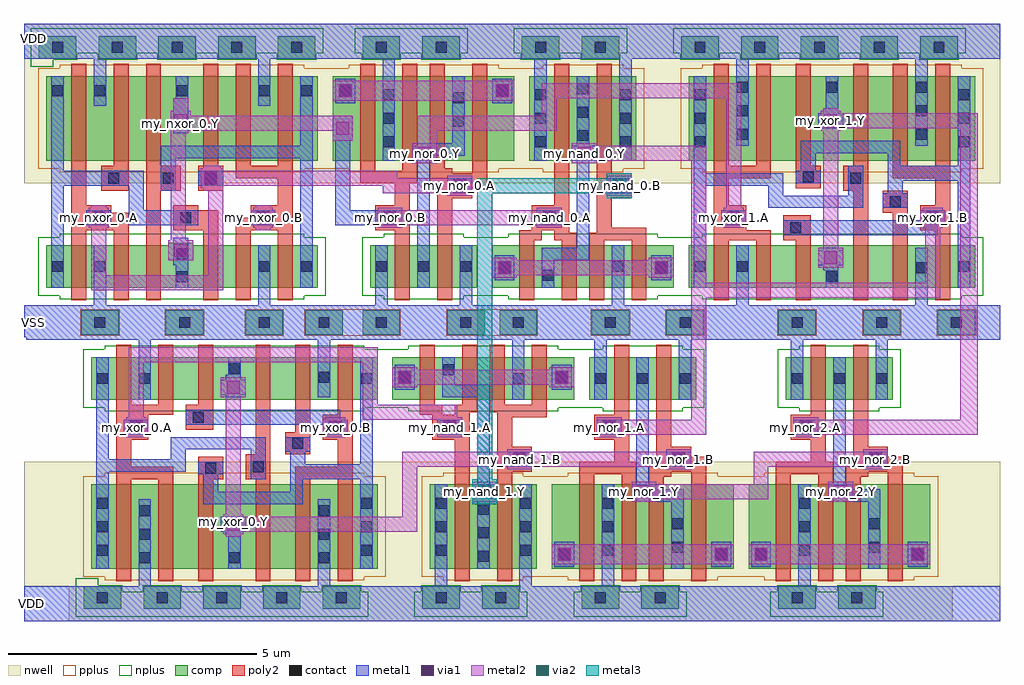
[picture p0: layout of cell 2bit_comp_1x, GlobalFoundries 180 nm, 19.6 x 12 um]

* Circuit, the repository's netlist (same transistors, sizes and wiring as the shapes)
* NGSPICE file created from 2bit_comp_1x.ext - technology: gf180mcuD

.subckt x2bit_comp_1x VDD VSS B0 A0 B1 A1 L G E
X0 my_xor_0.Y a_700_n970# a_600_n920# VDD pfet_03v3 ad=0.7225p pd=2.55u as=0.425p ps=2.2u w=1.7u l=0.3u
X1 a_2910_n920# E G VDD pfet_03v3 ad=0.935p pd=4.5u as=0.4675p ps=2.25u w=1.7u l=0.3u
X2 VDD my_nxor_0.Y a_1240_720# VDD pfet_03v3 ad=0.4675p pd=2.25u as=0.935p ps=4.5u w=1.7u l=0.3u
X3 my_nand_0.Y my_nxor_0.Y a_1880_210# VSS nfet_03v3 ad=0.23375p pd=1.4u as=0.4675p ps=2.8u w=0.85u l=0.3u
X4 VSS a_3100_610# a_3390_210# VSS nfet_03v3 ad=0.23375p pd=1.4u as=0.2125p ps=1.35u w=0.85u l=0.3u
X5 VDD my_nand_0.B my_nand_0.Y VDD pfet_03v3 ad=0.85p pd=4.4u as=0.4675p ps=2.25u w=1.7u l=0.3u
X6 a_3390_720# a_2670_210# L VDD pfet_03v3 ad=0.425p pd=2.2u as=0.7225p ps=2.55u w=1.7u l=0.3u
X7 a_3000_210# my_nor_0.Y VSS VSS nfet_03v3 ad=0.2125p pd=1.35u as=0.23375p ps=1.4u w=0.85u l=0.3u
X8 VDD my_xor_0.Y my_nand_0.B VDD pfet_03v3 ad=0.85p pd=4.4u as=0.4675p ps=2.25u w=1.7u l=0.3u
X9 VDD my_nor_0.Y a_2670_210# VDD pfet_03v3 ad=0.4675p pd=2.25u as=0.85p ps=4.4u w=1.7u l=0.3u
X10 VSS a_700_n970# a_990_n240# VSS nfet_03v3 ad=0.23375p pd=1.4u as=0.2125p ps=1.35u w=0.85u l=0.3u
X11 a_3250_n920# L VDD VDD pfet_03v3 ad=0.2125p pd=1.95u as=0.4675p ps=2.25u w=1.7u l=0.3u
X12 a_990_n240# a_270_n920# my_xor_0.Y VSS nfet_03v3 ad=0.2125p pd=1.35u as=0.36125p ps=1.7u w=0.85u l=0.3u
X13 a_1580_720# my_nxor_0.Y VDD VDD pfet_03v3 ad=0.2125p pd=1.95u as=0.4675p ps=2.25u w=1.7u l=0.3u
X14 a_2460_n920# my_nand_0.Y VDD VDD pfet_03v3 ad=0.2125p pd=1.95u as=0.4675p ps=2.25u w=1.7u l=0.3u
X15 VDD my_nand_0.Y a_3390_720# VDD pfet_03v3 ad=0.4675p pd=2.25u as=0.425p ps=2.2u w=1.7u l=0.3u
X16 a_3100_610# my_nand_0.Y VSS VSS nfet_03v3 ad=0.425p pd=2.7u as=0.23375p ps=1.4u w=0.85u l=0.3u
X17 a_3000_720# my_nor_0.Y VDD VDD pfet_03v3 ad=0.425p pd=2.2u as=0.4675p ps=2.25u w=1.7u l=0.3u
X18 L my_nand_0.Y a_3000_210# VSS nfet_03v3 ad=0.36125p pd=1.7u as=0.2125p ps=1.35u w=0.85u l=0.3u
X19 VSS A1 a_780_210# VSS nfet_03v3 ad=0.23375p pd=1.4u as=0.14875p ps=1.2u w=0.85u l=0.3u
X20 a_1820_n240# B0 my_nand_0.B VSS nfet_03v3 ad=0.10625p pd=1.1u as=0.23375p ps=1.4u w=0.85u l=0.3u
X21 VSS my_xor_0.Y E VSS nfet_03v3 ad=0.425p pd=2.7u as=0.23375p ps=1.4u w=0.85u l=0.3u
X22 a_600_n920# B0 VDD VDD pfet_03v3 ad=0.425p pd=2.2u as=0.4675p ps=2.25u w=1.7u l=0.3u
X23 a_2120_n920# my_xor_0.Y E VDD pfet_03v3 ad=0.935p pd=4.5u as=0.4675p ps=2.25u w=1.7u l=0.3u
X24 VSS B1 a_90_210# VSS nfet_03v3 ad=0.23375p pd=1.4u as=0.425p ps=2.7u w=0.85u l=0.3u
X25 a_780_210# a_90_210# my_nxor_0.Y VSS nfet_03v3 ad=0.14875p pd=1.2u as=0.37375p ps=1.75u w=0.85u l=0.3u
X26 G E a_3250_n920# VDD pfet_03v3 ad=0.4675p pd=2.25u as=0.2125p ps=1.95u w=1.7u l=0.3u
X27 a_3100_610# my_nand_0.Y VDD VDD pfet_03v3 ad=0.85p pd=4.4u as=0.4675p ps=2.25u w=1.7u l=0.3u
X28 VSS my_nand_0.B a_2220_210# VSS nfet_03v3 ad=0.23375p pd=1.4u as=0.10625p ps=1.1u w=0.85u l=0.3u
X29 VSS B0 a_270_n920# VSS nfet_03v3 ad=0.23375p pd=1.4u as=0.425p ps=2.7u w=0.85u l=0.3u
X30 VDD A1 a_780_720# VDD pfet_03v3 ad=0.4675p pd=2.25u as=0.2975p ps=2.05u w=1.7u l=0.3u
X31 L a_3100_610# a_3000_720# VDD pfet_03v3 ad=0.7225p pd=2.55u as=0.425p ps=2.2u w=1.7u l=0.3u
X32 my_nxor_0.Y a_490_160# a_420_210# VSS nfet_03v3 ad=0.37375p pd=1.75u as=0.14875p ps=1.2u w=0.85u l=0.3u
X33 VDD L a_2910_n920# VDD pfet_03v3 ad=0.4675p pd=2.25u as=0.935p ps=4.5u w=1.7u l=0.3u
X34 VDD B1 a_90_210# VDD pfet_03v3 ad=0.4675p pd=2.25u as=0.85p ps=4.4u w=1.7u l=0.3u
X35 a_780_720# B1 my_nxor_0.Y VDD pfet_03v3 ad=0.2975p pd=2.05u as=0.7225p ps=2.55u w=1.7u l=0.3u
X36 a_420_210# B1 VSS VSS nfet_03v3 ad=0.14875p pd=1.2u as=0.23375p ps=1.4u w=0.85u l=0.3u
X37 a_700_n970# A0 VSS VSS nfet_03v3 ad=0.425p pd=2.7u as=0.23375p ps=1.4u w=0.85u l=0.3u
X38 a_1480_n240# my_xor_0.Y VSS VSS nfet_03v3 ad=0.4675p pd=2.8u as=0.23375p ps=1.4u w=0.85u l=0.3u
X39 a_490_160# A1 VSS VSS nfet_03v3 ad=0.425p pd=2.7u as=0.23375p ps=1.4u w=0.85u l=0.3u
X40 my_nor_0.Y my_nxor_0.Y VSS VSS nfet_03v3 ad=0.23375p pd=1.4u as=0.425p ps=2.7u w=0.85u l=0.3u
X41 my_xor_0.Y A0 a_600_n240# VSS nfet_03v3 ad=0.36125p pd=1.7u as=0.2125p ps=1.35u w=0.85u l=0.3u
X42 a_1880_210# my_nand_0.B VSS VSS nfet_03v3 ad=0.4675p pd=2.8u as=0.23375p ps=1.4u w=0.85u l=0.3u
X43 G L VSS VSS nfet_03v3 ad=0.23375p pd=1.4u as=0.425p ps=2.7u w=0.85u l=0.3u
X44 VDD A0 a_990_n920# VDD pfet_03v3 ad=0.4675p pd=2.25u as=0.425p ps=2.2u w=1.7u l=0.3u
X45 my_nxor_0.Y a_490_160# a_420_720# VDD pfet_03v3 ad=0.7225p pd=2.55u as=0.2975p ps=2.05u w=1.7u l=0.3u
X46 a_990_n920# a_270_n920# my_xor_0.Y VDD pfet_03v3 ad=0.425p pd=2.2u as=0.7225p ps=2.55u w=1.7u l=0.3u
X47 my_nor_0.Y B1 a_1580_720# VDD pfet_03v3 ad=0.4675p pd=2.25u as=0.2125p ps=1.95u w=1.7u l=0.3u
X48 my_nand_0.B B0 VDD VDD pfet_03v3 ad=0.4675p pd=2.25u as=0.85p ps=4.4u w=1.7u l=0.3u
X49 E my_xor_0.Y a_2460_n920# VDD pfet_03v3 ad=0.4675p pd=2.25u as=0.2125p ps=1.95u w=1.7u l=0.3u
X50 a_420_720# a_90_210# VDD VDD pfet_03v3 ad=0.2975p pd=2.05u as=0.4675p ps=2.25u w=1.7u l=0.3u
X51 a_490_160# A1 VDD VDD pfet_03v3 ad=0.85p pd=4.4u as=0.4675p ps=2.25u w=1.7u l=0.3u
X52 VSS B1 my_nor_0.Y VSS nfet_03v3 ad=0.425p pd=2.7u as=0.23375p ps=1.4u w=0.85u l=0.3u
X53 VSS my_xor_0.Y a_1820_n240# VSS nfet_03v3 ad=0.23375p pd=1.4u as=0.10625p ps=1.1u w=0.85u l=0.3u
X54 VDD my_nand_0.Y a_2120_n920# VDD pfet_03v3 ad=0.4675p pd=2.25u as=0.935p ps=4.5u w=1.7u l=0.3u
X55 a_1240_720# B1 my_nor_0.Y VDD pfet_03v3 ad=0.935p pd=4.5u as=0.4675p ps=2.25u w=1.7u l=0.3u
X56 a_600_n240# B0 VSS VSS nfet_03v3 ad=0.2125p pd=1.35u as=0.23375p ps=1.4u w=0.85u l=0.3u
X57 a_3390_210# a_2670_210# L VSS nfet_03v3 ad=0.2125p pd=1.35u as=0.36125p ps=1.7u w=0.85u l=0.3u
X58 my_nand_0.B B0 a_1480_n240# VSS nfet_03v3 ad=0.23375p pd=1.4u as=0.4675p ps=2.8u w=0.85u l=0.3u
X59 E my_nand_0.Y VSS VSS nfet_03v3 ad=0.23375p pd=1.4u as=0.425p ps=2.7u w=0.85u l=0.3u
X60 VDD B0 a_270_n920# VDD pfet_03v3 ad=0.4675p pd=2.25u as=0.85p ps=4.4u w=1.7u l=0.3u
X61 my_nand_0.Y my_nxor_0.Y VDD VDD pfet_03v3 ad=0.4675p pd=2.25u as=0.85p ps=4.4u w=1.7u l=0.3u
X62 VSS my_nor_0.Y a_2670_210# VSS nfet_03v3 ad=0.23375p pd=1.4u as=0.425p ps=2.7u w=0.85u l=0.3u
X63 a_2220_210# my_nxor_0.Y my_nand_0.Y VSS nfet_03v3 ad=0.10625p pd=1.1u as=0.23375p ps=1.4u w=0.85u l=0.3u
X64 VSS E G VSS nfet_03v3 ad=0.425p pd=2.7u as=0.23375p ps=1.4u w=0.85u l=0.3u
X65 a_700_n970# A0 VDD VDD pfet_03v3 ad=0.85p pd=4.4u as=0.4675p ps=2.25u w=1.7u l=0.3u
.ends

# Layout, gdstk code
import gdstk
lib = gdstk.Library(unit=1e-6, precision=1e-09)
def R(c, l, rs):  # rectangles x0, y0, x1, y1
    for r in rs: c.add(gdstk.rectangle(r[:2], r[2:], *l))
def A(c, l, x, y, w, h, nx, ny, dx, dy):  # array of equal rectangles
    R(c, l, [(x+i*dx, y+j*dy, x+i*dx+w, y+j*dy+h) for i in range(nx) for j in range(ny)])
nwell = (21, 0)
comp = (22, 0)
poly2 = (30, 0)
pplus = (31, 0)
nplus = (32, 0)
contact = (33, 0)
metal1 = (34, 0)
via1 = (35, 0)
metal2 = (36, 0)
via2 = (38, 0)
metal3 = (42, 0)

c_2bit_comp_1x = lib.new_cell('2bit_comp_1x')
R(c_2bit_comp_1x, nwell, [(0.9,-5.65,18.65,-4.95), (0,-4.95,19.6,-2.45), (0,3.15,19.6,6.35)])
A(c_2bit_comp_1x, comp, 1.2, -5.4, 0.75, 0.45, 5, 1, 1.2, 0)
A(c_2bit_comp_1x, comp, 0.3, 5.65, 0.75, 0.45, 5, 1, 1.2, 0)
A(c_2bit_comp_1x, comp, 13.2, 5.65, 0.75, 0.45, 5, 1, 1.2, 0)
R(c_2bit_comp_1x, comp, [(8,-5.4,8.75,-4.95), (9.2,-5.4,9.95,-4.95), (11.2,-5.4,11.95,-4.95), (12.4,-5.4,13.15,-4.95), (15.15,-5.4,15.9,-4.95), (16.35,-5.4,17.1,-4.95), (1.35,-4.6,7.1,-2.9), (8.15,-4.6,10.3,-2.9), (10.6,-4.6,14.25,-2.9), (14.55,-4.6,18.2,-2.9), (1.35,-1.2,7.1,-0.35), (7.4,-1.2,11.05,-0.35), (11.35,-1.2,13.5,-0.35), (15.3,-1.2,17.45,-0.35), (1.15,0.1,1.9,0.6), (2.85,0.1,3.6,0.6), (4.45,0.1,5.2,0.6), (5.65,0.1,6.4,0.6), (6.8,0.1,7.55,0.6), (8.5,0.1,9.25,0.6), (9.55,0.1,10.3,0.6), (11.4,0.1,12.15,0.6), (12.9,0.1,13.65,0.6), (15.15,0.1,15.9,0.6), (16.85,0.1,17.6,0.6), (18.35,0.1,19.1,0.6), (0.45,1.05,5.9,1.9), (6.95,1.05,9.1,1.9), (9.4,1.05,13.05,1.9), (13.35,1.05,19.1,1.9), (2.9,1.9,3.4,1.95), (0.45,3.6,5.9,5.3), (6.2,3.6,9.85,5.3), (10.15,3.6,12.3,5.3), (13.35,3.6,19.1,5.3), (6.8,5.65,7.55,6.1), (8,5.65,8.75,6.1), (10,5.65,10.75,6.1), (11.2,5.65,11.95,6.1)])
R(c_2bit_comp_1x, poly2, [(1.85,-4.85,2.15,-2.8), (2.7,-4.85,3,-2.8), (3.5,-4.85,3.8,-2.8), (4.65,-4.85,4.95,-2.8), (5.45,-4.85,5.75,-2.8), (6.3,-4.85,6.6,-2.8), (8.65,-4.85,8.95,-2), (9.5,-4.85,9.8,-2.65), (11.15,-4.85,11.45,-2.7), (12,-4.85,12.3,-2.7), (12.55,-4.85,12.85,-2.75), (13.4,-4.85,13.7,-2.65), (15.1,-4.85,15.4,-2.7), (15.95,-4.85,16.25,-2.7), (16.5,-4.85,16.8,-2.75), (17.35,-4.85,17.65,-2.65), (1.85,-2.8,3,-2.55), (3.5,-2.8,4,-2.35), (4.45,-2.8,4.95,-2.3), (5.45,-2.8,6.6,-2.55), (12.55,-2.75,13,-2.65), (16.5,-2.75,16.95,-2.65), (11.15,-2.7,12.3,-2.45), (15.1,-2.7,16.25,-2.45), (9.5,-2.65,10.2,-2.15), (12.55,-2.65,13.7,-2.45), (16.5,-2.65,17.65,-2.45), (1.85,-2.55,2.15,-2), (6.3,-2.55,6.6,-2), (11.85,-2.45,12.15,-2), (12.7,-2.45,13.7,-2.35), (15.8,-2.45,16.1,-2), (16.65,-2.45,17.65,-2.35), (12.7,-2.35,13.4,-2.15), (16.65,-2.35,17.35,-2.15), (4.65,-2.3,4.95,-0.1), (5.25,-2.3,5.75,-1.85), (9.5,-2.15,9.8,-1.55), (12.7,-2.15,13,-0.1), (16.65,-2.15,16.95,-0.1), (1.85,-2,2.5,-1.5), (6,-2,6.6,-1.5), (8.2,-2,8.95,-1.5), (11.45,-2,12.15,-1.5), (15.4,-2,16.1,-1.5), (5.45,-1.85,5.75,-0.1), (3.25,-1.8,3.8,-1.3), (9.5,-1.55,10.5,-1.45), (1.85,-1.5,3,-1.3), (6.3,-1.5,6.6,-0.1), (7.95,-1.5,8.4,-1.3), (8.65,-1.5,8.95,-1.45), (11.85,-1.5,12.15,-0.1), (15.8,-1.5,16.1,-0.1), (8.65,-1.45,9.1,-1.3), (9.35,-1.45,10.5,-1.3), (1.85,-1.3,2.15,-0.1), (2.7,-1.3,3,-0.1), (3.5,-1.3,3.8,-0.1), (7.95,-1.3,8.25,-0.1), (8.8,-1.3,9.1,-0.1), (9.35,-1.3,9.65,-0.1), (10.2,-1.3,10.5,-0.1), (0.95,0.8,1.25,2.2), (1.8,0.8,2.1,2.2), (2.45,0.8,2.75,3), (3.6,0.8,3.9,2.2), (4.25,0.8,4.55,2.2), (5.1,0.8,5.4,2.2), (7.45,0.8,7.75,2.2), (8.3,0.8,8.6,2.85), (9.95,0.8,10.25,2), (10.8,0.8,11.1,2), (11.35,0.8,11.65,2), (12.2,0.8,12.5,2), (13.85,0.8,14.15,2), (14.7,0.8,15,2), (15.5,0.8,15.8,2), (16.65,0.8,16.95,3), (17.45,0.8,17.75,2.55), (18.3,0.8,18.6,2.2), (9.95,2,10.4,2.2), (10.65,2,11.1,2.15), (11.35,2,12.5,2.15), (13.85,2,15,2.2), (15.25,2,15.8,2.5), (10.65,2.15,10.95,2.2), (11.5,2.15,12.5,2.25), (0.95,2.2,2.1,2.55), (3,2.2,3.9,2.6), (4.25,2.2,5.4,2.45), (7.05,2.2,7.75,2.7), (10.2,2.2,10.95,2.7), (13.85,2.2,14.5,2.7), (18,2.2,18.6,2.7), (11.5,2.25,11.8,2.85), (4.55,2.45,5.4,2.7), (0.95,2.55,1.75,2.7), (17.25,2.55,17.75,3), (3,2.6,3.5,2.7), (0.95,2.7,1.25,5.55), (5.1,2.7,5.4,3.25), (7.45,2.7,7.75,3.15), (10.65,2.7,10.95,5.55), (13.85,2.7,14.15,3.25), (18.3,2.7,18.6,3.25), (8.3,2.85,9,3.05), (11.5,2.85,12.2,3.35), (1.55,3,2.1,3.5), (2.45,3,3.15,3.5), (3.5,3,4,3.5), (16.45,3,16.95,3.5), (8.3,3.05,9.3,3.15), (15.5,3.05,16,3.5), (6.75,3.15,7.9,3.4), (8.15,3.15,9.3,3.35), (4.25,3.25,5.4,3.5), (13.85,3.25,15,3.5), (17.45,3.25,18.6,3.5), (8.15,3.35,8.6,3.45), (9,3.35,9.3,5.55), (11.5,3.35,11.8,5.55), (6.75,3.4,7.05,5.55), (7.6,3.4,7.9,5.55), (8.15,3.45,8.45,5.55), (1.8,3.5,2.1,5.55), (2.45,3.5,2.75,5.55), (3.6,3.5,3.9,5.55), (4.25,3.5,4.55,5.55), (5.1,3.5,5.4,5.55), (13.85,3.5,14.15,5.55), (14.7,3.5,15,5.55), (15.5,3.5,15.8,5.55), (16.65,3.5,16.95,5.55), (17.45,3.5,17.75,5.55), (18.3,3.5,18.6,5.55)])
R(c_2bit_comp_1x, pplus, [(1.62,-4.83,6.83,-4.76), (8.42,-4.83,10.03,-4.76), (10.92,-4.83,13.93,-4.76), (14.87,-4.83,17.88,-4.76), (1.19,-4.76,7.26,-2.74), (7.99,-4.76,18.36,-2.74), (1.62,-2.74,6.83,-2.67), (8.42,-2.74,10.03,-2.67), (10.92,-2.74,13.93,-2.67), (14.87,-2.74,17.88,-2.67), (1.13,0.08,1.92,0.62), (2.83,0.08,3.62,0.62), (4.43,0.08,5.22,0.62), (5.63,0.08,7.57,0.62), (8.48,0.08,10.32,0.62), (11.38,0.08,12.17,0.62), (12.88,0.08,13.67,0.62), (15.13,0.08,15.92,0.62), (16.83,0.08,17.62,0.62), (18.33,0.08,19.12,0.62), (0.72,3.37,5.63,3.44), (6.52,3.37,9.53,3.44), (10.42,3.37,12.03,3.44), (13.62,3.37,18.83,3.44), (0.29,3.44,12.46,5.46), (13.19,3.44,19.26,5.46), (0.72,5.46,5.63,5.53), (6.52,5.46,9.53,5.53), (10.42,5.46,12.03,5.53), (13.62,5.46,18.83,5.53)])
A(c_2bit_comp_1x, nplus, 2.38, -5.06, 0.79, 0.13, 4, 1, 1.2, 0)
A(c_2bit_comp_1x, nplus, 1.48, 5.63, 0.79, 0.13, 4, 1, 1.2, 0)
A(c_2bit_comp_1x, nplus, 13.18, 5.63, 0.79, 0.13, 5, 1, 1.2, 0)
R(c_2bit_comp_1x, nplus, [(1.04,-5.56,6.91,-5.06), (7.84,-5.56,10.11,-5.06), (11.04,-5.56,13.31,-5.06), (14.99,-5.56,17.26,-5.06), (1.04,-5.06,1.97,-4.93), (7.98,-5.06,8.77,-4.93), (9.18,-5.06,9.97,-4.93), (11.18,-5.06,11.97,-4.93), (12.38,-5.06,13.17,-4.93), (15.13,-5.06,15.92,-4.93), (16.33,-5.06,17.12,-4.93), (1.04,-4.93,1.49,-4.79), (1.62,-1.43,6.83,-1.36), (7.72,-1.43,10.73,-1.36), (11.62,-1.43,13.23,-1.36), (15.57,-1.43,17.18,-1.36), (1.19,-1.36,13.66,-0.19), (15.14,-1.36,17.61,-0.19), (1.62,-0.19,6.83,-0.12), (7.72,-0.19,10.73,-0.12), (11.62,-0.19,13.23,-0.12), (15.57,-0.19,17.18,-0.12), (0.72,0.82,5.63,0.89), (7.22,0.82,8.83,0.89), (9.72,0.82,12.73,0.89), (13.62,0.82,18.83,0.89), (0.29,0.89,6.06,2.06), (6.79,0.89,19.26,2.06), (0.72,2.06,5.63,2.13), (7.22,2.06,8.83,2.13), (9.72,2.06,12.73,2.13), (13.62,2.06,18.83,2.13), (0.14,5.49,0.59,5.63), (0.14,5.63,1.07,5.76), (6.78,5.63,7.57,5.76), (7.98,5.63,8.77,5.76), (9.98,5.63,10.77,5.76), (11.18,5.63,11.97,5.76), (0.14,5.76,6.01,6.26), (6.64,5.76,8.91,6.26), (9.84,5.76,12.11,6.26), (13.04,5.76,18.91,6.26)])
A(c_2bit_comp_1x, contact, 1.465, -5.285, 0.22, 0.22, 5, 1, 1.2, 0)
A(c_2bit_comp_1x, contact, 2.315, -4.48, 0.22, 0.22, 1, 3, 0, 0.47)
A(c_2bit_comp_1x, contact, 5.915, -4.48, 0.22, 0.22, 1, 3, 0, 0.47)
A(c_2bit_comp_1x, contact, 9.115, -4.455, 0.22, 0.22, 1, 3, 0, 0.47)
A(c_2bit_comp_1x, contact, 1.465, -4.33, 0.22, 0.22, 1, 3, 0, 0.47)
A(c_2bit_comp_1x, contact, 6.765, -4.33, 0.22, 0.22, 1, 3, 0, 0.47)
A(c_2bit_comp_1x, contact, 8.265, -4.33, 0.22, 0.22, 1, 3, 0, 0.47)
A(c_2bit_comp_1x, contact, 9.965, -4.33, 0.22, 0.22, 1, 3, 0, 0.47)
A(c_2bit_comp_1x, contact, 11.615, -4.33, 0.22, 0.22, 1, 3, 0, 0.47)
A(c_2bit_comp_1x, contact, 15.565, -4.33, 0.22, 0.22, 1, 3, 0, 0.47)
A(c_2bit_comp_1x, contact, 11.465, -0.885, 0.22, 0.22, 3, 1, 0.85, 0)
A(c_2bit_comp_1x, contact, 15.415, -0.885, 0.22, 0.22, 3, 1, 0.85, 0)
A(c_2bit_comp_1x, contact, 7.065, 1.365, 0.22, 0.22, 3, 1, 0.85, 0)
A(c_2bit_comp_1x, contact, 7.215, 3.87, 0.22, 0.22, 1, 3, 0, 0.47)
A(c_2bit_comp_1x, contact, 10.265, 3.87, 0.22, 0.22, 1, 3, 0, 0.47)
A(c_2bit_comp_1x, contact, 11.965, 3.87, 0.22, 0.22, 1, 3, 0, 0.47)
A(c_2bit_comp_1x, contact, 13.465, 3.87, 0.22, 0.22, 1, 3, 0, 0.47)
A(c_2bit_comp_1x, contact, 18.765, 3.87, 0.22, 0.22, 1, 3, 0, 0.47)
A(c_2bit_comp_1x, contact, 11.115, 3.995, 0.22, 0.22, 1, 3, 0, 0.47)
A(c_2bit_comp_1x, contact, 14.315, 4.02, 0.22, 0.22, 1, 3, 0, 0.47)
A(c_2bit_comp_1x, contact, 17.915, 4.02, 0.22, 0.22, 1, 3, 0, 0.47)
A(c_2bit_comp_1x, contact, 1.415, 4.89, 0.22, 0.22, 3, 1, 1.65, 0)
A(c_2bit_comp_1x, contact, 0.565, 5.765, 0.22, 0.22, 5, 1, 1.2, 0)
A(c_2bit_comp_1x, contact, 13.465, 5.765, 0.22, 0.22, 5, 1, 1.2, 0)
R(c_2bit_comp_1x, contact, [(8.265,-5.285,8.485,-5.065), (9.465,-5.285,9.685,-5.065), (11.465,-5.285,11.685,-5.065), (12.665,-5.285,12.885,-5.065), (15.415,-5.285,15.635,-5.065), (16.615,-5.285,16.835,-5.065), (4.115,-4.485,4.335,-4.265), (10.74,-4.41,10.96,-4.19), (13.89,-4.41,14.11,-4.19), (14.69,-4.41,14.91,-4.19), (17.84,-4.41,18.06,-4.19), (13.015,-4.27,13.235,-4.05), (16.965,-4.27,17.185,-4.05), (13.015,-3.8,13.235,-3.58), (16.965,-3.8,17.185,-3.58), (3.64,-2.685,3.86,-2.465), (4.59,-2.66,4.81,-2.44), (9.84,-2.51,10.06,-2.29), (13.04,-2.51,13.26,-2.29), (16.99,-2.51,17.21,-2.29), (5.39,-2.185,5.61,-1.965), (2.14,-1.86,2.36,-1.64), (6.14,-1.86,6.36,-1.64), (8.44,-1.86,8.66,-1.64), (11.64,-1.86,11.86,-1.64), (15.59,-1.86,15.81,-1.64), (3.39,-1.66,3.61,-1.44), (1.465,-0.885,1.685,-0.665), (2.315,-0.885,2.535,-0.665), (6.765,-0.885,6.985,-0.665), (9.815,-0.885,10.035,-0.665), (5.915,-0.86,6.135,-0.64), (7.54,-0.86,7.76,-0.64), (10.69,-0.86,10.91,-0.64), (8.415,-0.71,8.635,-0.49), (4.115,-0.685,4.335,-0.465), (1.415,0.24,1.635,0.46), (3.115,0.24,3.335,0.46), (4.715,0.24,4.935,0.46), (5.915,0.24,6.135,0.46), (7.065,0.24,7.285,0.46), (8.765,0.24,8.985,0.46), (9.815,0.24,10.035,0.46), (11.665,0.24,11.885,0.46), (13.165,0.24,13.385,0.46), (15.415,0.24,15.635,0.46), (17.115,0.24,17.335,0.46), (18.615,0.24,18.835,0.46), (3.065,1.155,3.285,1.375), (16.115,1.165,16.335,1.385), (10.415,1.19,10.635,1.41), (9.54,1.34,9.76,1.56), (12.69,1.34,12.91,1.56), (17.915,1.34,18.135,1.56), (0.565,1.365,0.785,1.585), (1.415,1.365,1.635,1.585), (4.715,1.365,4.935,1.585), (5.565,1.365,5.785,1.585), (11.815,1.365,12.035,1.585), (13.465,1.365,13.685,1.585), (14.315,1.365,14.535,1.585), (18.765,1.365,18.985,1.585), (3.065,1.625,3.285,1.845), (15.39,2.14,15.61,2.36), (1.39,2.34,1.61,2.56), (3.14,2.34,3.36,2.56), (4.69,2.34,4.91,2.56), (7.24,2.34,7.46,2.56), (10.44,2.34,10.66,2.56), (14.14,2.34,14.36,2.56), (18.14,2.34,18.36,2.56), (17.39,2.665,17.61,2.885), (8.64,2.99,8.86,3.21), (11.84,2.99,12.06,3.21), (1.69,3.14,1.91,3.36), (2.79,3.14,3.01,3.36), (3.64,3.14,3.86,3.36), (16.59,3.14,16.81,3.36), (15.64,3.165,15.86,3.385), (8.615,4.28,8.835,4.5), (8.615,4.75,8.835,4.97), (0.565,4.89,0.785,5.11), (5.565,4.89,5.785,5.11), (6.34,4.89,6.56,5.11), (9.49,4.89,9.71,5.11), (16.115,4.965,16.335,5.185), (7.065,5.765,7.285,5.985), (8.265,5.765,8.485,5.985), (10.265,5.765,10.485,5.985), (11.465,5.765,11.685,5.985)])
R(c_2bit_comp_1x, metal1, [(0,-5.65,19.6,-4.95), (2.3,-4.95,2.55,-3.2), (5.9,-4.95,6.15,-3.2), (8.25,-4.95,8.5,-2.9), (9.95,-4.95,10.2,-2.9), (11.6,-4.95,11.85,-2.9), (15.55,-4.95,15.8,-2.9), (1.45,-4.6,1.7,-2.65), (4.1,-4.6,4.35,-3.95), (6.75,-4.6,7,-2.8), (9.1,-4.6,9.35,-3.2), (13,-4.6,13.25,-3.25), (16.95,-4.6,17.2,-3.25), (10.65,-4.55,11.05,-4.05), (13.8,-4.55,14.2,-4.05), (14.6,-4.55,15,-4.05), (17.75,-4.55,18.15,-4.05), (4.05,-3.95,4.35,-3.85), (3.95,-3.85,4.45,-3.55), (3.6,-3.3,5.6,-3.05), (12.3,-3.25,13.25,-3.2), (16.25,-3.25,17.2,-3.2), (9,-3.2,9.5,-2.9), (12.2,-3.2,13.25,-3), (16.15,-3.2,17.2,-3), (3.6,-3.05,3.9,-2.7), (5.35,-3.05,5.6,-2.8), (12.2,-3,12.7,-2.9), (16.15,-3,16.65,-2.9), (9.1,-2.9,9.35,-1.15), (12.3,-2.9,12.55,-0.35), (16.25,-2.9,16.5,-0.35), (4.55,-2.8,4.85,-2.2), (5.35,-2.8,7,-2.5), (3.5,-2.7,4,-2.45), (1.45,-2.65,3.25,-2.4), (9.7,-2.55,10.2,-2.25), (12.9,-2.55,13.4,-2.25), (16.85,-2.55,17.35,-2.25), (5.35,-2.5,5.65,-2.25), (6.75,-2.5,7,-0.35), (1.45,-2.4,1.7,-0.35), (2.95,-2.4,3.25,-2.2), (5.25,-2.25,5.75,-1.95), (2.95,-2.2,4.85,-1.95), (2,-1.9,2.5,-1.6), (6,-1.9,6.5,-1.7), (8.3,-1.9,8.8,-1.6), (11.5,-1.9,12,-1.6), (15.45,-1.9,15.95,-1.6), (3.25,-1.7,6.5,-1.6), (3.25,-1.6,6.35,-1.4), (2.3,-1.2,2.55,0), (9.8,-1.2,10.05,0), (11.45,-1.2,11.7,0), (13.15,-1.2,13.4,0), (15.4,-1.2,15.65,0), (17.1,-1.2,17.35,0), (4.05,-1.15,4.35,-1.1), (5.9,-1.15,6.15,0), (8.4,-1.15,9.35,-0.9), (3.95,-1.1,4.45,-0.8), (7.45,-1,7.85,-0.5), (10.6,-1,11,-0.5), (8.4,-0.9,8.65,-0.35), (4.05,-0.8,4.35,-0.7), (4.1,-0.7,4.35,-0.35), (0.05,0,19.6,0.05), (0,0.05,19.6,0.7), (1.4,0.7,1.65,1.9), (4.7,0.7,4.95,1.9), (7.05,0.7,7.3,1.9), (8.75,0.7,9,1.9), (11.8,0.7,12.05,1.9), (14.3,0.7,14.55,1.9), (17.9,0.7,18.15,1.85), (0.55,1.05,0.8,3.1), (3.05,1.05,3.3,1.5), (5.55,1.05,5.8,3.65), (7.9,1.05,8.15,3.6), (10.4,1.05,10.65,1.6), (13.45,1.05,13.7,3.1), (16.1,1.05,16.35,1.4), (18.75,1.05,19,3.2), (9.45,1.2,9.85,1.7), (12.6,1.2,13,1.7), (16.05,1.4,16.35,1.5), (3,1.5,3.3,2.05), (15.95,1.5,16.45,1.8), (10.4,1.6,11.35,1.85), (16.05,1.8,16.35,1.85), (11.1,1.85,11.35,3.6), (15.25,2.1,18.35,2.3), (1.25,2.3,1.75,2.6), (2.1,2.3,3.5,2.6), (4.55,2.3,5.05,2.6), (6.25,2.3,7.6,2.6), (10.3,2.3,10.8,2.6), (14,2.3,14.5,2.6), (15.25,2.3,18.5,2.4), (18,2.4,18.5,2.6), (2.1,2.6,2.4,3.1), (6.25,2.6,6.55,4), (14.95,2.65,16.85,2.9), (17.25,2.65,17.75,2.95), (14.95,2.9,15.25,3.1), (16.55,2.9,16.85,3.5), (8.5,2.95,9,3.25), (11.7,2.95,12.2,3.25), (17.35,2.95,17.65,3.2), (2.75,3,3.05,3.65), (0.55,3.1,2.4,3.4), (3.5,3.1,4,3.4), (13.45,3.1,15.25,3.35), (15.5,3.15,16,3.4), (17.35,3.2,19,3.5), (13.45,3.35,13.7,5.3), (0.55,3.4,0.8,5.3), (15.6,3.4,15.9,3.75), (17.35,3.5,17.6,3.75), (18.75,3.5,19,5.3), (7.2,3.6,7.45,5.65), (7.8,3.6,8.3,3.7), (10.25,3.6,10.5,5.65), (11,3.6,11.5,3.9), (11.95,3.6,12.2,5.65), (2.75,3.65,5.8,3.9), (7.8,3.7,8.85,3.9), (15.6,3.75,17.6,4), (5.55,3.9,5.8,5.3), (7.9,3.9,8.85,3.95), (11.1,3.9,11.35,5.3), (14.3,3.9,14.55,5.65), (17.9,3.9,18.15,5.65), (8.6,3.95,8.85,5.3), (6.2,4,6.6,4.5), (3,4.15,3.3,4.85), (15.95,4.25,16.45,4.55), (16.05,4.55,16.35,4.65), (16.1,4.65,16.35,5.3), (1.4,4.7,1.65,5.65), (4.7,4.7,4.95,5.65), (6.25,4.75,6.65,5.25), (9.4,4.75,9.8,5.25), (3.05,4.85,3.3,5.3), (0,5.65,19.6,6.35)])
R(c_2bit_comp_1x, via1, [(10.72,-4.43,10.98,-4.17), (13.87,-4.43,14.13,-4.17), (14.67,-4.43,14.93,-4.17), (17.82,-4.43,18.08,-4.17), (4.07,-3.83,4.33,-3.57), (9.12,-3.18,9.38,-2.92), (12.32,-3.18,12.58,-2.92), (16.27,-3.18,16.53,-2.92), (9.82,-2.53,10.08,-2.27), (13.02,-2.53,13.28,-2.27), (16.97,-2.53,17.23,-2.27), (2.12,-1.88,2.38,-1.62), (6.12,-1.88,6.38,-1.62), (8.42,-1.88,8.68,-1.62), (11.62,-1.88,11.88,-1.62), (15.57,-1.88,15.83,-1.62), (4.07,-1.08,4.33,-0.82), (7.52,-0.88,7.78,-0.62), (10.67,-0.88,10.93,-0.62), (9.52,1.32,9.78,1.58), (12.67,1.32,12.93,1.58), (16.07,1.52,16.33,1.78), (3.02,1.67,3.28,1.93), (1.37,2.32,1.63,2.58), (4.67,2.32,4.93,2.58), (7.22,2.32,7.48,2.58), (10.42,2.32,10.68,2.58), (14.12,2.32,14.38,2.58), (18.12,2.32,18.38,2.58), (8.62,2.97,8.88,3.23), (11.82,2.97,12.08,3.23), (3.62,3.12,3.88,3.38), (7.92,3.62,8.18,3.88), (11.12,3.62,11.38,3.88), (6.27,4.12,6.53,4.38), (3.02,4.27,3.28,4.53), (16.07,4.27,16.33,4.53), (6.32,4.87,6.58,5.13), (9.47,4.87,9.73,5.13)])
R(c_2bit_comp_1x, metal2, [(10.6,-4.5,14.25,-4.1), (14.55,-4.5,18.2,-4.1), (4.05,-3.95,4.35,-3.9), (4,-3.9,4.4,-3.85), (4,-3.85,7.9,-3.55), (4,-3.55,4.4,-3.5), (7.6,-3.55,7.9,-2.55), (4.05,-3.5,4.35,-1.15), (9,-3.25,9.5,-2.85), (12.2,-3.25,12.7,-3.2), (16.15,-3.25,16.65,-2.85), (12.2,-3.2,14.95,-2.9), (12.2,-2.9,12.7,-2.85), (14.65,-2.9,14.95,-2.55), (9.7,-2.6,10.2,-2.55), (12.9,-2.6,13.4,-2.55), (16.85,-2.6,17.35,-2.55), (7.6,-2.55,13.4,-2.25), (14.65,-2.55,17.35,-2.25), (9.7,-2.25,10.2,-2.2), (12.9,-2.25,13.4,-2.2), (16.85,-2.25,17.35,-2.2), (2.05,-1.95,2.45,-1.9), (6.05,-1.95,6.45,-1.9), (8.3,-1.95,8.8,-1.6), (11.5,-1.95,12,-1.9), (15.45,-1.95,15.95,-1.9), (2,-1.9,2.5,-1.6), (6,-1.9,6.5,-1.6), (11.5,-1.9,13.7,-1.6), (15.45,-1.9,19.15,-1.6), (2.05,-1.6,2.45,-1.55), (6.05,-1.6,6.45,-1.55), (6.8,-1.6,8.8,-1.55), (11.5,-1.6,12,-1.55), (13.4,-1.6,13.7,0.85), (15.45,-1.6,15.95,-1.55), (18.8,-1.6,19.15,4.25), (2.1,-1.55,2.4,-0.45), (6.8,-1.55,8.7,-1.3), (6.8,-1.3,7.1,-0.45), (3.95,-1.15,4.45,-0.75), (7.4,-0.95,7.9,-0.9), (10.55,-0.95,11.05,-0.9), (7.4,-0.9,11.05,-0.6), (7.4,-0.6,7.9,-0.55), (10.55,-0.6,11.05,-0.55), (2.1,-0.45,7.1,-0.15), (13.4,0.85,18.4,1.15), (1.35,1,4,1.3), (13.4,1.15,13.7,3.6), (18.1,1.15,18.4,2.25), (9.4,1.25,9.9,1.3), (12.55,1.25,13.05,1.3), (1.35,1.3,1.65,2.25), (3.7,1.3,4,3), (9.4,1.3,13.05,1.6), (15.95,1.45,16.45,1.85), (2.9,1.6,3.4,2), (9.4,1.6,9.9,1.65), (12.55,1.6,13.05,1.65), (16.05,1.85,16.35,4.2), (2.95,2,3.25,4.15), (4.65,2.2,4.95,2.25), (1.3,2.25,1.7,2.65), (4.6,2.25,5,2.3), (7.1,2.25,7.6,2.3), (10.3,2.25,10.8,2.3), (14.05,2.25,14.45,2.3), (18.05,2.25,18.45,2.3), (4.55,2.3,5.05,2.6), (7.1,2.3,10.8,2.6), (14,2.3,14.5,2.6), (18,2.3,18.5,2.6), (4.6,2.6,5,2.65), (7.1,2.6,7.6,2.65), (10.3,2.6,10.8,2.65), (14.05,2.6,14.45,2.65), (18.05,2.6,18.45,2.65), (1.35,2.65,1.65,2.7), (4.65,2.65,4.95,2.7), (14.1,2.65,14.4,4.85), (8.5,2.9,9,2.95), (11.7,2.9,12.2,3.3), (7.2,2.95,9,3.1), (3.6,3,4,3.05), (3.55,3.05,4,3.1), (3.55,3.1,9,3.25), (3.55,3.25,7.5,3.4), (8.5,3.25,9,3.3), (3.55,3.4,4,3.45), (3.6,3.45,3.95,3.5), (7.8,3.55,8.3,3.95), (11,3.55,11.5,3.6), (11,3.6,13.7,3.9), (11,3.9,11.5,3.95), (7.9,3.95,8.3,4.2), (6.2,4,6.6,4.2), (2.95,4.15,3.3,4.2), (2.95,4.2,6.6,4.5), (7.9,4.2,10.7,4.5), (16,4.2,16.4,4.25), (16,4.25,19.15,4.55), (2.95,4.5,3.35,4.6), (10.4,4.5,10.7,4.85), (16,4.55,16.4,4.6), (3,4.6,3.3,4.85), (16.05,4.6,16.35,4.65), (6.2,4.8,9.85,5.2), (10.4,4.85,14.4,5.15)])
R(c_2bit_comp_1x, via2, [(9.12,-3.18,9.38,-2.92), (11.82,2.97,12.08,3.23)])
R(c_2bit_comp_1x, metal3, [(9,-3.3,9.5,-2.8), (9.1,-2.8,9.4,2.95), (11.7,2.85,12.2,2.95), (9.1,2.95,12.2,3.25), (11.7,3.25,12.2,3.35)])
c_2bit_comp_1x.add(gdstk.Label('my_nxor_0.A', (1.5,2.45), layer=36, texttype=0))
c_2bit_comp_1x.add(gdstk.Label('my_nxor_0.Y', (3.15,4.35), layer=36, texttype=0))
c_2bit_comp_1x.add(gdstk.Label('my_nxor_0.B', (4.8,2.45), layer=36, texttype=0))
c_2bit_comp_1x.add(gdstk.Label('my_nor_0.Y', (8.05,3.75), layer=36, texttype=0))
c_2bit_comp_1x.add(gdstk.Label('my_nand_0.A', (10.55,2.45), layer=36, texttype=0))
c_2bit_comp_1x.add(gdstk.Label('my_nand_0.B', (11.95,3.1), layer=42, texttype=0))
c_2bit_comp_1x.add(gdstk.Label('my_nand_0.Y', (11.25,3.75), layer=36, texttype=0))
c_2bit_comp_1x.add(gdstk.Label('my_xor_0.Y', (4.2,-3.65), layer=36, texttype=0))
c_2bit_comp_1x.add(gdstk.Label('my_xor_0.B', (6.25,-1.75), layer=36, texttype=0))
c_2bit_comp_1x.add(gdstk.Label('my_xor_0.A', (2.25,-1.75), layer=36, texttype=0))
c_2bit_comp_1x.add(gdstk.Label('my_nor_1.A', (11.75,-1.75), layer=36, texttype=0))
c_2bit_comp_1x.add(gdstk.Label('my_nor_1.B', (13.15,-2.4), layer=36, texttype=0))
c_2bit_comp_1x.add(gdstk.Label('my_nor_1.Y', (12.45,-3.05), layer=36, texttype=0))
c_2bit_comp_1x.add(gdstk.Label('my_nor_2.A', (15.7,-1.75), layer=36, texttype=0))
c_2bit_comp_1x.add(gdstk.Label('my_nor_2.B', (17.1,-2.4), layer=36, texttype=0))
c_2bit_comp_1x.add(gdstk.Label('my_nor_2.Y', (16.4,-3.05), layer=36, texttype=0))
c_2bit_comp_1x.add(gdstk.Label('my_xor_1.A', (14.25,2.45), layer=36, texttype=0))
c_2bit_comp_1x.add(gdstk.Label('my_xor_1.B', (18.25,2.45), layer=36, texttype=0))
c_2bit_comp_1x.add(gdstk.Label('my_xor_1.Y', (16.2,4.4), layer=36, texttype=0))
c_2bit_comp_1x.add(gdstk.Label('my_nand_1.A', (8.55,-1.75), layer=36, texttype=0))
c_2bit_comp_1x.add(gdstk.Label('my_nand_1.B', (9.95,-2.4), layer=36, texttype=0))
c_2bit_comp_1x.add(gdstk.Label('my_nand_1.Y', (9.25,-3.05), layer=36, texttype=0))
c_2bit_comp_1x.add(gdstk.Label('my_nor_0.B', (7.35,2.45), layer=36, texttype=0))
c_2bit_comp_1x.add(gdstk.Label('my_nor_0.A', (8.75,3.1), layer=36, texttype=0))
c_2bit_comp_1x.add(gdstk.Label('VDD', (0.2,6.05), layer=34, texttype=10))
c_2bit_comp_1x.add(gdstk.Label('VDD', (0.15,-5.3), layer=34, texttype=10))
c_2bit_comp_1x.add(gdstk.Label('VSS', (0.2,0.35), layer=34, texttype=10))
c_2bit_comp_1x.add(gdstk.Label('B0', (2.25,-1.7), layer=34, texttype=10))
c_2bit_comp_1x.add(gdstk.Label('A0', (6.25,-1.7), layer=34, texttype=10))
c_2bit_comp_1x.add(gdstk.Label('B1', (1.5,2.35), layer=34, texttype=10))
c_2bit_comp_1x.add(gdstk.Label('A1', (4.8,2.35), layer=34, texttype=10))
c_2bit_comp_1x.add(gdstk.Label('L', (16.2,4.35), layer=34, texttype=10))
c_2bit_comp_1x.add(gdstk.Label('G', (16.4,-3.15), layer=34, texttype=10))
c_2bit_comp_1x.add(gdstk.Label('E', (12.45,-3.15), layer=34, texttype=10))

lib.write_gds('2bit_comp_1x.gds')
